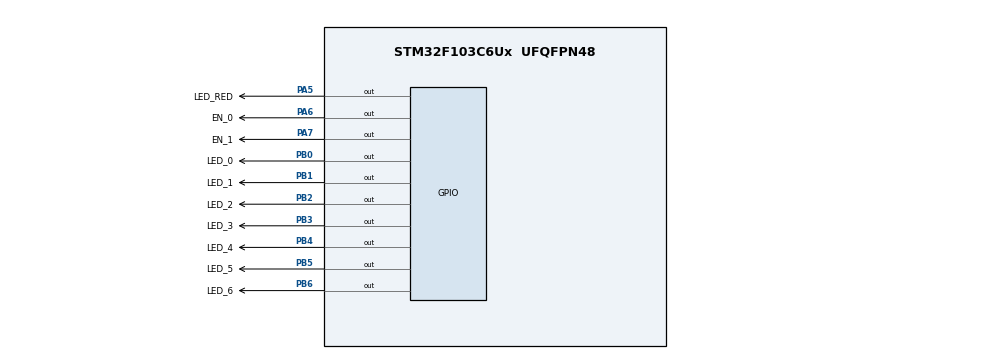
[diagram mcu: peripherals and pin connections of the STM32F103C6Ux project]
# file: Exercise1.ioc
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Mcu.Family=STM32F1
Mcu.Name=STM32F103C6Ux
Mcu.Package=UFQFPN48
NVIC.PriorityGroup=NVIC_PRIORITYGROUP_4
NVIC.TIM2_IRQn=true\:0\:0\:false\:false\:true\:true\:true
PA5.GPIO_Label=LED_RED
PA5.Signal=GPIO_Output
PA6.GPIO_Label=EN_0
PA6.Signal=GPIO_Output
PA7.GPIO_Label=EN_1
PA7.Signal=GPIO_Output
PB0.GPIO_Label=LED_0
PB0.Signal=GPIO_Output
PB1.GPIO_Label=LED_1
PB1.Signal=GPIO_Output
PB2.GPIO_Label=LED_2
PB2.Signal=GPIO_Output
PB3.GPIO_Label=LED_3
PB3.Signal=GPIO_Output
PB4.GPIO_Label=LED_4
PB4.Signal=GPIO_Output
PB5.GPIO_Label=LED_5
PB5.Signal=GPIO_Output
PB6.GPIO_Label=LED_6
PB6.Signal=GPIO_Output
ProjectManager.HeapSize=0x200
ProjectManager.StackSize=0x400
ProjectManager.TargetToolchain=STM32CubeIDE
RCC.APB1Freq_Value=8000000
RCC.APB2Freq_Value=8000000
TIM2.Period=9
TIM2.Prescaler=7999
VP_SYS_VS_ND.Mode=No_Debug
VP_TIM2_VS_ClockSourceINT.Mode=Internal
board=custom

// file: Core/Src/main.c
/* USER CODE BEGIN Header */
/**
  ******************************************************************************
  * @file           : main.c
  * @brief          : Main program body
  ******************************************************************************
  * @attention
  *
  * <h2><center>&copy; Copyright (c) 2022 STMicroelectronics.
  * All rights reserved.</center></h2>
  *
  * This software component is licensed by ST under BSD 3-Clause license,
  * the "License"; You may not use this file except in compliance with the
  * License. You may obtain a copy of the License at:
  *                        opensource.org/licenses/BSD-3-Clause
  *
  ******************************************************************************
  */
/* USER CODE END Header */
#include "main.h"

TIM_HandleTypeDef htim2;

void SystemClock_Config(void);
static void MX_GPIO_Init(void);
static void MX_TIM2_Init(void);

void Display7SEG( int counter){
  switch (counter ){
  case 0:
	  HAL_GPIO_WritePin(GPIOB , LED_0_Pin , GPIO_PIN_RESET);
	  HAL_GPIO_WritePin(GPIOB , LED_1_Pin , GPIO_PIN_RESET);
	  HAL_GPIO_WritePin(GPIOB , LED_2_Pin , GPIO_PIN_RESET);
	  HAL_GPIO_WritePin(GPIOB , LED_3_Pin , GPIO_PIN_RESET);
	  HAL_GPIO_WritePin(GPIOB , LED_4_Pin , GPIO_PIN_RESET);
	  HAL_GPIO_WritePin(GPIOB , LED_5_Pin , GPIO_PIN_RESET);
	  HAL_GPIO_WritePin(GPIOB , LED_6_Pin , GPIO_PIN_SET);
	  break;
  case 1:
  	  HAL_GPIO_WritePin(GPIOB , LED_0_Pin , GPIO_PIN_SET);
  	  HAL_GPIO_WritePin(GPIOB , LED_1_Pin , GPIO_PIN_RESET);
  	  HAL_GPIO_WritePin(GPIOB , LED_2_Pin , GPIO_PIN_RESET);
  	  HAL_GPIO_WritePin(GPIOB , LED_3_Pin , GPIO_PIN_SET);
  	  HAL_GPIO_WritePin(GPIOB , LED_4_Pin , GPIO_PIN_SET);
  	  HAL_GPIO_WritePin(GPIOB , LED_5_Pin , GPIO_PIN_SET);
  	  HAL_GPIO_WritePin(GPIOB , LED_6_Pin , GPIO_PIN_SET);
  	break;
  case 2:
  	  HAL_GPIO_WritePin(GPIOB , LED_0_Pin , GPIO_PIN_RESET);
  	  HAL_GPIO_WritePin(GPIOB , LED_1_Pin , GPIO_PIN_RESET);
  	  HAL_GPIO_WritePin(GPIOB , LED_2_Pin , GPIO_PIN_SET);
  	  HAL_GPIO_WritePin(GPIOB , LED_3_Pin , GPIO_PIN_RESET);
  	  HAL_GPIO_WritePin(GPIOB , LED_4_Pin , GPIO_PIN_RESET);
  	  HAL_GPIO_WritePin(GPIOB , LED_5_Pin , GPIO_PIN_SET);
  	  HAL_GPIO_WritePin(GPIOB , LED_6_Pin , GPIO_PIN_RESET);
  	break;
  case 3:
  	  HAL_GPIO_WritePin(GPIOB , LED_0_Pin , GPIO_PIN_RESET);
  	  HAL_GPIO_WritePin(GPIOB , LED_1_Pin , GPIO_PIN_RESET);
  	  HAL_GPIO_WritePin(GPIOB , LED_2_Pin , GPIO_PIN_RESET);
  	  HAL_GPIO_WritePin(GPIOB , LED_3_Pin , GPIO_PIN_RESET);
  	  HAL_GPIO_WritePin(GPIOB , LED_4_Pin , GPIO_PIN_SET);
  	  HAL_GPIO_WritePin(GPIOB , LED_5_Pin , GPIO_PIN_SET);
  	  HAL_GPIO_WritePin(GPIOB , LED_6_Pin , GPIO_PIN_RESET);
  	break;
  case 4:
  	  HAL_GPIO_WritePin(GPIOB , LED_0_Pin , GPIO_PIN_SET);
  	  HAL_GPIO_WritePin(GPIOB , LED_1_Pin , GPIO_PIN_RESET);
  	  HAL_GPIO_WritePin(GPIOB , LED_2_Pin , GPIO_PIN_RESET);
  	  HAL_GPIO_WritePin(GPIOB , LED_3_Pin , GPIO_PIN_SET);
  	  HAL_GPIO_WritePin(GPIOB , LED_4_Pin , GPIO_PIN_SET);
  	  HAL_GPIO_WritePin(GPIOB , LED_5_Pin , GPIO_PIN_RESET);
  	  HAL_GPIO_WritePin(GPIOB , LED_6_Pin , GPIO_PIN_RESET);
  	break;
  case 5:
  	  HAL_GPIO_WritePin(GPIOB , LED_0_Pin , GPIO_PIN_RESET);
  	  HAL_GPIO_WritePin(GPIOB , LED_1_Pin , GPIO_PIN_SET);
  	  HAL_GPIO_WritePin(GPIOB , LED_2_Pin , GPIO_PIN_RESET);
  	  HAL_GPIO_WritePin(GPIOB , LED_3_Pin , GPIO_PIN_RESET);
  	  HAL_GPIO_WritePin(GPIOB , LED_4_Pin , GPIO_PIN_SET);
  	  HAL_GPIO_WritePin(GPIOB , LED_5_Pin , GPIO_PIN_RESET);
  	  HAL_GPIO_WritePin(GPIOB , LED_6_Pin , GPIO_PIN_RESET);
  	break;
  case 6:
  	  HAL_GPIO_WritePin(GPIOB , LED_0_Pin , GPIO_PIN_RESET);
  	  HAL_GPIO_WritePin(GPIOB , LED_1_Pin , GPIO_PIN_SET);
  	  HAL_GPIO_WritePin(GPIOB , LED_2_Pin , GPIO_PIN_RESET);
  	  HAL_GPIO_WritePin(GPIOB , LED_3_Pin , GPIO_PIN_RESET);
  	  HAL_GPIO_WritePin(GPIOB , LED_4_Pin , GPIO_PIN_RESET);
  	  HAL_GPIO_WritePin(GPIOB , LED_5_Pin , GPIO_PIN_RESET);
  	  HAL_GPIO_WritePin(GPIOB , LED_6_Pin , GPIO_PIN_RESET);
  	break;
  case 7:
  	  HAL_GPIO_WritePin(GPIOB , LED_0_Pin , GPIO_PIN_RESET);
  	  HAL_GPIO_WritePin(GPIOB , LED_1_Pin , GPIO_PIN_RESET);
  	  HAL_GPIO_WritePin(GPIOB , LED_2_Pin , GPIO_PIN_RESET);
  	  HAL_GPIO_WritePin(GPIOB , LED_3_Pin , GPIO_PIN_SET);
  	  HAL_GPIO_WritePin(GPIOB , LED_4_Pin , GPIO_PIN_SET);
  	  HAL_GPIO_WritePin(GPIOB , LED_5_Pin , GPIO_PIN_SET);
  	  HAL_GPIO_WritePin(GPIOB , LED_6_Pin , GPIO_PIN_SET);
  	break;
  case 8:
  	  HAL_GPIO_WritePin(GPIOB , LED_0_Pin , GPIO_PIN_RESET);
  	  HAL_GPIO_WritePin(GPIOB , LED_1_Pin , GPIO_PIN_RESET);
  	  HAL_GPIO_WritePin(GPIOB , LED_2_Pin , GPIO_PIN_RESET);
  	  HAL_GPIO_WritePin(GPIOB , LED_3_Pin , GPIO_PIN_RESET);
  	  HAL_GPIO_WritePin(GPIOB , LED_4_Pin , GPIO_PIN_RESET);
  	  HAL_GPIO_WritePin(GPIOB , LED_5_Pin , GPIO_PIN_RESET);
  	  HAL_GPIO_WritePin(GPIOB , LED_6_Pin , GPIO_PIN_RESET);
  	break;
  case 9:
  	  HAL_GPIO_WritePin(GPIOB , LED_0_Pin , GPIO_PIN_RESET);
  	  HAL_GPIO_WritePin(GPIOB , LED_1_Pin , GPIO_PIN_RESET);
  	  HAL_GPIO_WritePin(GPIOB , LED_2_Pin , GPIO_PIN_RESET);
  	  HAL_GPIO_WritePin(GPIOB , LED_3_Pin , GPIO_PIN_RESET);
  	  HAL_GPIO_WritePin(GPIOB , LED_4_Pin , GPIO_PIN_SET);
  	  HAL_GPIO_WritePin(GPIOB , LED_5_Pin , GPIO_PIN_RESET);
  	  HAL_GPIO_WritePin(GPIOB , LED_6_Pin , GPIO_PIN_RESET);
  	break;
  }
  }
int main(void)
{

  /* MCU Configuration--------------------------------------------------------*/

  /* Reset of all peripherals, Initializes the Flash interface and the Systick. */
  HAL_Init();

  /* Configure the system clock */
  SystemClock_Config();

  /* Initialize all configured peripherals */
  MX_GPIO_Init();
  MX_TIM2_Init();
  /* USER CODE BEGIN 2 */
HAL_TIM_Base_Start_IT(&htim2);
  /* USER CODE END 2 */

  /* Infinite loop */
  while (1)
  {

  }
}

void SystemClock_Config(void)
{
  RCC_OscInitTypeDef RCC_OscInitStruct = {0};
  RCC_ClkInitTypeDef RCC_ClkInitStruct = {0};

  /** Initializes the RCC Oscillators according to the specified parameters
  * in the RCC_OscInitTypeDef structure.
  */
  RCC_OscInitStruct.OscillatorType = RCC_OSCILLATORTYPE_HSI;
  RCC_OscInitStruct.HSIState = RCC_HSI_ON;
  RCC_OscInitStruct.HSICalibrationValue = RCC_HSICALIBRATION_DEFAULT;
  RCC_OscInitStruct.PLL.PLLState = RCC_PLL_NONE;
  if (HAL_RCC_OscConfig(&RCC_OscInitStruct) != HAL_OK)
  {
    Error_Handler();
  }
  /** Initializes the CPU, AHB and APB buses clocks
  */
  RCC_ClkInitStruct.ClockType = RCC_CLOCKTYPE_HCLK|RCC_CLOCKTYPE_SYSCLK
                              |RCC_CLOCKTYPE_PCLK1|RCC_CLOCKTYPE_PCLK2;
  RCC_ClkInitStruct.SYSCLKSource = RCC_SYSCLKSOURCE_HSI;
  RCC_ClkInitStruct.AHBCLKDivider = RCC_SYSCLK_DIV1;
  RCC_ClkInitStruct.APB1CLKDivider = RCC_HCLK_DIV1;
  RCC_ClkInitStruct.APB2CLKDivider = RCC_HCLK_DIV1;

  if (HAL_RCC_ClockConfig(&RCC_ClkInitStruct, FLASH_LATENCY_0) != HAL_OK)
  {
    Error_Handler();
  }
}

static void MX_TIM2_Init(void)
{

  TIM_ClockConfigTypeDef sClockSourceConfig = {0};
  TIM_MasterConfigTypeDef sMasterConfig = {0};

  htim2.Instance = TIM2;
  htim2.Init.Prescaler = 7999;
  htim2.Init.CounterMode = TIM_COUNTERMODE_UP;
  htim2.Init.Period = 9;
  htim2.Init.ClockDivision = TIM_CLOCKDIVISION_DIV1;
  htim2.Init.AutoReloadPreload = TIM_AUTORELOAD_PRELOAD_DISABLE;
  if (HAL_TIM_Base_Init(&htim2) != HAL_OK)
  {
    Error_Handler();
  }
  sClockSourceConfig.ClockSource = TIM_CLOCKSOURCE_INTERNAL;
  if (HAL_TIM_ConfigClockSource(&htim2, &sClockSourceConfig) != HAL_OK)
  {
    Error_Handler();
  }
  sMasterConfig.MasterOutputTrigger = TIM_TRGO_RESET;
  sMasterConfig.MasterSlaveMode = TIM_MASTERSLAVEMODE_DISABLE;
  if (HAL_TIMEx_MasterConfigSynchronization(&htim2, &sMasterConfig) != HAL_OK)
  {
    Error_Handler();
  }

}

static void MX_GPIO_Init(void)
{
  GPIO_InitTypeDef GPIO_InitStruct = {0};

  /* GPIO Ports Clock Enable */
  __HAL_RCC_GPIOA_CLK_ENABLE();
  __HAL_RCC_GPIOB_CLK_ENABLE();

  /*Configure GPIO pin Output Level */
  HAL_GPIO_WritePin(GPIOA, LED_RED_Pin|GPIO_PIN_6|GPIO_PIN_7, GPIO_PIN_RESET);

  /*Configure GPIO pin Output Level */
  HAL_GPIO_WritePin(GPIOB, LED_0_Pin|LED_1_Pin|LED_2_Pin|LED_3_Pin
                          |LED_4_Pin|LED_5_Pin|LED_6_Pin, GPIO_PIN_RESET);

  /*Configure GPIO pins : LED_RED_Pin PA6 PA7 */
  GPIO_InitStruct.Pin = LED_RED_Pin|GPIO_PIN_6|GPIO_PIN_7;
  GPIO_InitStruct.Mode = GPIO_MODE_OUTPUT_PP;
  GPIO_InitStruct.Pull = GPIO_NOPULL;
  GPIO_InitStruct.Speed = GPIO_SPEED_FREQ_LOW;
  HAL_GPIO_Init(GPIOA, &GPIO_InitStruct);

  /*Configure GPIO pins : SEG0_Pin SEG1_Pin SEG2_Pin SEG3_Pin
                           SEG4_Pin SEG5_Pin SEG6_Pin */
  GPIO_InitStruct.Pin = LED_0_Pin|LED_1_Pin|LED_2_Pin|LED_3_Pin
          |LED_4_Pin|LED_5_Pin|LED_6_Pin;
  GPIO_InitStruct.Mode = GPIO_MODE_OUTPUT_PP;
  GPIO_InitStruct.Pull = GPIO_NOPULL;
  GPIO_InitStruct.Speed = GPIO_SPEED_FREQ_LOW;
  HAL_GPIO_Init(GPIOB, &GPIO_InitStruct);

}

/* USER CODE BEGIN 4 */
int time=50;
int couter=1;
void HAL_TIM_PeriodElapsedCallback(TIM_HandleTypeDef *htim){
	time--;
	if(time<=0){
		switch(couter){
			case 1:
				HAL_GPIO_WritePin(GPIOA, GPIO_PIN_6,GPIO_PIN_RESET);
				HAL_GPIO_WritePin(GPIOA, GPIO_PIN_7,GPIO_PIN_SET);
				couter=2;
				Display7SEG(1);
				break;
			case 2:
				HAL_GPIO_WritePin(GPIOA, GPIO_PIN_7,GPIO_PIN_RESET);
				HAL_GPIO_WritePin(GPIOA, GPIO_PIN_6,GPIO_PIN_SET);
				Display7SEG(2);
				couter = 1;
				break;
		}
		time=50;
	}
}

/* USER CODE END 4 */

void Error_Handler(void)
{
  __disable_irq();
  while (1)
  {
  }
}

/************************ (C) COPYRIGHT STMicroelectronics *****END OF FILE****/
